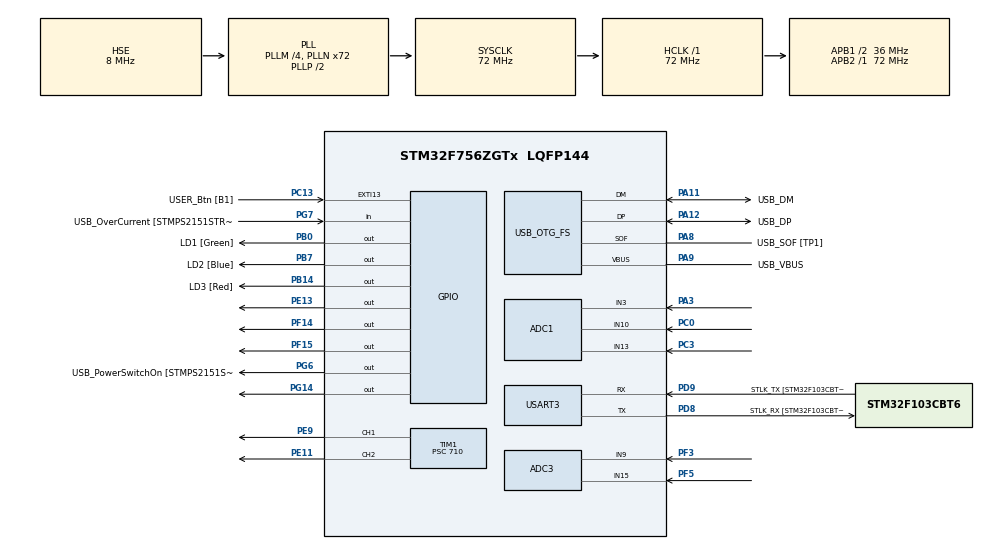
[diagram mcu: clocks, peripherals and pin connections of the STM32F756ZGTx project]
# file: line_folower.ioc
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ADC1.Channel-1\#ChannelRegularConversion=ADC_CHANNEL_3
ADC1.NbrOfConversionFlag=1
ADC1.Rank-1\#ChannelRegularConversion=1
ADC1.SamplingTime-1\#ChannelRegularConversion=ADC_SAMPLETIME_3CYCLES
ADC1.master=1
ADC3.Channel-0\#ChannelRegularConversion=ADC_CHANNEL_9
ADC3.NbrOfConversionFlag=1
ADC3.Rank-0\#ChannelRegularConversion=1
ADC3.SamplingTime-0\#ChannelRegularConversion=ADC_SAMPLETIME_3CYCLES
Mcu.Family=STM32F7
Mcu.Name=STM32F756ZGTx
Mcu.Package=LQFP144
NVIC.PriorityGroup=NVIC_PRIORITYGROUP_4
PA1.GPIO_Label=RMII_REF_CLK [LAN8742A-CZ-TR_REFCLK0]
PA1.Signal=ETH_REF_CLK
PA10.GPIO_Label=USB_ID
PA10.Signal=USB_OTG_FS_ID
PA11.GPIO_Label=USB_DM
PA11.Mode=Device_Only
PA11.Signal=USB_OTG_FS_DM
PA12.GPIO_Label=USB_DP
PA12.Mode=Device_Only
PA12.Signal=USB_OTG_FS_DP
PA13.GPIO_Label=TMS
PA13.Mode=Serial_Wire
PA13.Signal=SYS_JTMS-SWDIO
PA14.GPIO_Label=TCK
PA14.Mode=Serial_Wire
PA14.Signal=SYS_JTCK-SWCLK
PA2.GPIO_Label=RMII_MDIO [LAN8742A-CZ-TR_MDIO]
PA2.Signal=ETH_MDIO
PA3.Signal=ADCx_IN3
PA7.GPIO_Label=RMII_CRS_DV [LAN8742A-CZ-TR_CRS_DV]
PA7.Signal=ETH_CRS_DV
PA8.GPIO_Label=USB_SOF [TP1]
PA8.Mode=Activate_SOF_FS
PA8.Signal=USB_OTG_FS_SOF
PA9.GPIO_Label=USB_VBUS
PA9.Mode=Activate_VBUS
PA9.Signal=USB_OTG_FS_VBUS
PB0.GPIO_Label=LD1 [Green]
PB0.Signal=GPIO_Output
PB13.GPIO_Label=RMII_TXD1 [LAN8742A-CZ-TR_TXD1]
PB13.Signal=ETH_TXD1
PB14.GPIO_Label=LD3 [Red]
PB14.Signal=GPIO_Output
PB3.GPIO_Label=SW0
PB3.Signal=SYS_JTDO-SWO
PB7.GPIO_Label=LD2 [Blue]
PB7.Signal=GPIO_Output
PC0.Signal=ADCx_IN10
PC1.GPIO_Label=RMII_MDC [LAN8742A-CZ-TR_MDC]
PC1.Signal=ETH_MDC
PC13.GPIO_Label=USER_Btn [B1]
PC13.Signal=GPXTI13
PC14/OSC32_IN.Mode=LSE-External-Oscillator
PC14/OSC32_IN.Signal=RCC_OSC32_IN
PC15/OSC32_OUT.Mode=LSE-External-Oscillator
PC15/OSC32_OUT.Signal=RCC_OSC32_OUT
PC3.Signal=ADCx_IN13
PC4.GPIO_Label=RMII_RXD0 [LAN8742A-CZ-TR_RXD0]
PC4.Signal=ETH_RXD0
PC5.GPIO_Label=RMII_RXD1 [LAN8742A-CZ-TR_RXD1]
PC5.Signal=ETH_RXD1
PD8.GPIO_Label=STLK_RX [STM32F103CBT6_PA3]
PD8.Mode=Asynchronous
PD8.Signal=USART3_TX
PD9.GPIO_Label=STLK_TX [STM32F103CBT6_PA2]
PD9.Mode=Asynchronous
PD9.Signal=USART3_RX
PE11.Signal=S_TIM1_CH2
PE13.Signal=GPIO_Output
PE9.Signal=S_TIM1_CH1
PF14.Signal=GPIO_Output
PF15.Signal=GPIO_Output
PF3.Mode=IN9
PF3.Signal=ADC3_IN9
PF5.Mode=IN15
PF5.Signal=ADC3_IN15
PG11.GPIO_Label=RMII_TX_EN [LAN8742A-CZ-TR_TXEN]
PG11.Signal=ETH_TX_EN
PG13.GPIO_Label=RMII_TXD0 [LAN8742A-CZ-TR_TXD0]
PG13.Signal=ETH_TXD0
PG14.Signal=GPIO_Output
PG6.GPIO_Label=USB_PowerSwitchOn [STMPS2151STR_EN]
PG6.Signal=GPIO_Output
PG7.GPIO_Label=USB_OverCurrent [STMPS2151STR_FAULT]
PG7.Signal=GPIO_Input
PH0/OSC_IN.GPIO_Label=MCO [STM32F103CBT6_PA8]
PH0/OSC_IN.Mode=HSE-External-Clock-Source
PH0/OSC_IN.Signal=RCC_OSC_IN
PH1/OSC_OUT.Mode=HSE-External-Clock-Source
PH1/OSC_OUT.Signal=RCC_OSC_OUT
ProjectManager.HeapSize=0x200
ProjectManager.StackSize=0x400
ProjectManager.TargetToolchain=STM32CubeIDE
RCC.48MHZClocksFreq_Value=24000000
RCC.AHBFreq_Value=72000000
RCC.APB1CLKDivider=RCC_HCLK_DIV2
RCC.APB1Freq_Value=36000000
RCC.APB1TimFreq_Value=72000000
RCC.APB2Freq_Value=72000000
RCC.APB2TimFreq_Value=72000000
RCC.CortexFreq_Value=72000000
RCC.HCLKFreq_Value=72000000
RCC.HSE_VALUE=8000000
RCC.HSI_VALUE=16000000
RCC.PLLM=4
RCC.PLLMUL=RCC_PLL_MUL9
RCC.PLLN=72
RCC.PLLQ=3
RCC.PRESCALERUSB=RCC_USBCLKSOURCE_PLL_DIV1_5
RCC.SYSCLKFreq_VALUE=72000000
RCC.SYSCLKSource=RCC_SYSCLKSOURCE_PLLCLK
RCC.SYSCLKSourceVirtual=RCC_SYSCLKSOURCE_PLLCLK
RCC.USBFreq_Value=48000000
RCC.VCOOutputFreq_Value=144000000
SH.ADCx_IN10.0=ADC1_IN10,IN10
SH.ADCx_IN13.0=ADC1_IN13,IN13
SH.ADCx_IN3.0=ADC1_IN3,IN3
SH.S_TIM1_CH1.0=TIM1_CH1,PWM Generation1 CH1
SH.S_TIM1_CH2.0=TIM1_CH2,PWM Generation2 CH2
TIM1.Channel-PWM\ Generation1\ CH1=TIM_CHANNEL_1
TIM1.Channel-PWM\ Generation2\ CH2=TIM_CHANNEL_2
TIM1.Period=1999
TIM1.Prescaler=710
USART3.VirtualMode-Asynchronous=VM_ASYNC
USB_OTG_FS.VirtualMode=Device_Only
VP_TIM1_VS_ClockSourceINT.Mode=Internal
board=NUCLEO-F756ZG

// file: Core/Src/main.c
/* USER CODE BEGIN Header */
/**
  ******************************************************************************
  * @file           : main.c
  * @brief          : Main program body
  ******************************************************************************
  * @attention
  *
  * Copyright (c) 2023 STMicroelectronics.
  * All rights reserved.
  *
  * This software is licensed under terms that can be found in the LICENSE file
  * in the root directory of this software component.
  * If no LICENSE file comes with this software, it is provided AS-IS.
  *
  ******************************************************************************
  */
/* USER CODE END Header */
#include "main.h"

ADC_HandleTypeDef hadc1;
ADC_HandleTypeDef hadc3;

TIM_HandleTypeDef htim1;

UART_HandleTypeDef huart3;

PCD_HandleTypeDef hpcd_USB_OTG_FS;

/* USER CODE BEGIN PV */
uint16_t adcValue1;
uint16_t adcValue2;
uint16_t adcValue3;
uint16_t adcValue4;
uint16_t adcValue5;

uint8_t lineDetectedCh3 = 0;
uint8_t lineDetectedCh10 = 0;
uint8_t lineDetectedCh13 = 0;

int speedLeft, speedRight;
/* USER CODE END PV */

void SystemClock_Config(void);
static void MX_GPIO_Init(void);
static void MX_USART3_UART_Init(void);
static void MX_USB_OTG_FS_PCD_Init(void);
static void MX_TIM1_Init(void);
static void MX_ADC1_Init(void);
static void MX_ADC3_Init(void);

/* USER CODE BEGIN 0 */
uint16_t readPotentiometerValue(void)
{
  HAL_ADC_Start(&hadc1);
  HAL_ADC_PollForConversion(&hadc1, HAL_MAX_DELAY);
  return HAL_ADC_GetValue(&hadc1);
}

void setPWMFromPotentiometer(void)
{
  // Read the ADC value from the potentiometer
  uint16_t adcValue = readPotentiometerValue();
  uint16_t T = 19999;
  // Map the ADC value to the PWM range
  uint16_t pwmValue = (adcValue * T) / 4096; // Adjust this based on your PWM resolution

  // Set the PWM duty cycle
  __HAL_TIM_SET_COMPARE(&htim1, TIM_CHANNEL_1, T);
  __HAL_TIM_SET_COMPARE(&htim1, TIM_CHANNEL_2, T);
}

void set_speed(uint16_t speed, uint32_t channel)
{
  uint16_t T = 19999;
  uint16_t pwmValue = (speed * T) / 1000;

  switch (channel)
  {
    case TIM_CHANNEL_1:
      __HAL_TIM_SET_COMPARE(&htim1, TIM_CHANNEL_1, pwmValue);
      break;
    case TIM_CHANNEL_2:
      __HAL_TIM_SET_COMPARE(&htim1, TIM_CHANNEL_2, pwmValue);
      break;
    default:
      Error_Handler();
      break;
  }
}

uint16_t readADCValue(ADC_HandleTypeDef *hadc, uint32_t channel)
{
  ADC_ChannelConfTypeDef sConfig = {0};

  // Configure the ADC channel
  sConfig.Channel = channel;
  sConfig.Rank = 1;
  sConfig.SamplingTime = ADC_SAMPLETIME_28CYCLES;

  if (HAL_ADC_ConfigChannel(hadc, &sConfig) != HAL_OK)
  {
    Error_Handler();  // Upewnij się, że masz zdefiniowaną funkcję obsługi błędów (Error_Handler)
  }

  // Start ADC conversion
  HAL_ADC_Start(hadc);

  // Wait for conversion to complete
  HAL_ADC_PollForConversion(hadc, HAL_MAX_DELAY);

  // Return the ADC value
  return HAL_ADC_GetValue(hadc);
}

uint8_t lineDetectedLeft = 0;
uint8_t lineDetectedRight = 0;
uint8_t is_left = 0;
uint8_t is_right = 0;

uint8_t pos = 0;
#define TARGET_THRESHOLD 550
#define MOTOR_PWM_MAX 1999
#define KP 250
#define KI 1
#define KD 4
uint8_t setpoint = 2;
uint8_t e = 0;
float prev_signal = 0;
float integral = 0;
float signal_time = 0;
float sig = 0 ;
float sig2 = 0 ;
float prev_time = 0;
void controlMotors(void)
{
    // Odczytaj wartości z czujników
    adcValue1 = readADCValue(&hadc1, ADC_CHANNEL_3);
    adcValue2 = readADCValue(&hadc1, ADC_CHANNEL_10);
	adcValue3 = readADCValue(&hadc1, ADC_CHANNEL_13);
	adcValue4 = readADCValue(&hadc3, ADC_CHANNEL_9);
	adcValue5 = readADCValue(&hadc3, ADC_CHANNEL_15);

	//Sprawdzanie pozycji pos
	if (adcValue3<TARGET_THRESHOLD)
	{
		pos = 2;
	}
	if (adcValue2<TARGET_THRESHOLD)
	{
		pos = 1;
	}
	if (adcValue1<TARGET_THRESHOLD)
	{
		pos = 0;
	}
	if (adcValue4<TARGET_THRESHOLD)
	{
		pos = 3;
	}
	if (adcValue5<TARGET_THRESHOLD)
	{
		pos = 4;
	}

	float signal = setpoint-pos;

	integral += signal*0.001;
	if(integral>1000)
	{
		integral = 1000;
	}
	if (integral<0)
	{
		integral = 0;
	}

	float derivative = (signal-prev_signal)/(10);

	prev_signal = signal;

	sig = -signal*KP-integral*KI-derivative*KD;
	sig2 = signal*KP+integral*KI+derivative*KD;

	if (200+sig >= 0)
	{
		HAL_GPIO_WritePin(GPIOF, GPIO_PIN_14, GPIO_PIN_RESET);

		HAL_GPIO_WritePin(GPIOF, GPIO_PIN_15, GPIO_PIN_SET);

		__HAL_TIM_SET_COMPARE(&htim1, TIM_CHANNEL_1, 1200 + sig);

	}
	else{
		HAL_GPIO_WritePin(GPIOF, GPIO_PIN_14, GPIO_PIN_SET);

		HAL_GPIO_WritePin(GPIOF, GPIO_PIN_15, GPIO_PIN_RESET);

		__HAL_TIM_SET_COMPARE(&htim1, TIM_CHANNEL_1, 1200 + abs(sig));

	}
	if (200 + sig2 >= 0)
	{

		HAL_GPIO_WritePin(GPIOE, GPIO_PIN_13, GPIO_PIN_RESET);

		HAL_GPIO_WritePin(GPIOG, GPIO_PIN_14, GPIO_PIN_SET);

		__HAL_TIM_SET_COMPARE(&htim1, TIM_CHANNEL_2, 1200 + sig2);
	}
	else{

		HAL_GPIO_WritePin(GPIOE, GPIO_PIN_13, GPIO_PIN_SET);

		HAL_GPIO_WritePin(GPIOG, GPIO_PIN_14, GPIO_PIN_RESET);

		__HAL_TIM_SET_COMPARE(&htim1, TIM_CHANNEL_2, 1200 + abs(sig2));
	}
}
/* USER CODE END 0 */

int main(void)
{

  /* MCU Configuration--------------------------------------------------------*/

  /* Reset of all peripherals, Initializes the Flash interface and the Systick. */
  HAL_Init();

  /* Configure the system clock */
  SystemClock_Config();

  /* Initialize all configured peripherals */
  MX_GPIO_Init();
  MX_USART3_UART_Init();
  MX_USB_OTG_FS_PCD_Init();
  MX_TIM1_Init();
  MX_ADC1_Init();
  MX_ADC3_Init();
  /* USER CODE BEGIN 2 */
  HAL_TIM_PWM_Start (&htim1, TIM_CHANNEL_1);
  HAL_TIM_PWM_Start (&htim1, TIM_CHANNEL_2);

  HAL_GPIO_WritePin(GPIOF, GPIO_PIN_14, GPIO_PIN_RESET);
  HAL_GPIO_WritePin(GPIOE, GPIO_PIN_13, GPIO_PIN_RESET);
  HAL_GPIO_WritePin(GPIOF, GPIO_PIN_15, GPIO_PIN_SET);
  HAL_GPIO_WritePin(GPIOG, GPIO_PIN_14, GPIO_PIN_SET);
  /* USER CODE END 2 */

  /* Infinite loop */
  while (1)
  {

    /* USER CODE BEGIN 3 */
	  controlMotors();

  }
  /* USER CODE END 3 */
}

void SystemClock_Config(void)
{
  RCC_OscInitTypeDef RCC_OscInitStruct = {0};
  RCC_ClkInitTypeDef RCC_ClkInitStruct = {0};

  /** Configure LSE Drive Capability
  */
  HAL_PWR_EnableBkUpAccess();

  /** Configure the main internal regulator output voltage
  */
  __HAL_RCC_PWR_CLK_ENABLE();
  __HAL_PWR_VOLTAGESCALING_CONFIG(PWR_REGULATOR_VOLTAGE_SCALE3);

  /** Initializes the RCC Oscillators according to the specified parameters
  * in the RCC_OscInitTypeDef structure.
  */
  RCC_OscInitStruct.OscillatorType = RCC_OSCILLATORTYPE_HSE;
  RCC_OscInitStruct.HSEState = RCC_HSE_BYPASS;
  RCC_OscInitStruct.PLL.PLLState = RCC_PLL_ON;
  RCC_OscInitStruct.PLL.PLLSource = RCC_PLLSOURCE_HSE;
  RCC_OscInitStruct.PLL.PLLM = 4;
  RCC_OscInitStruct.PLL.PLLN = 72;
  RCC_OscInitStruct.PLL.PLLP = RCC_PLLP_DIV2;
  RCC_OscInitStruct.PLL.PLLQ = 3;
  if (HAL_RCC_OscConfig(&RCC_OscInitStruct) != HAL_OK)
  {
    Error_Handler();
  }

  /** Initializes the CPU, AHB and APB buses clocks
  */
  RCC_ClkInitStruct.ClockType = RCC_CLOCKTYPE_HCLK|RCC_CLOCKTYPE_SYSCLK
                              |RCC_CLOCKTYPE_PCLK1|RCC_CLOCKTYPE_PCLK2;
  RCC_ClkInitStruct.SYSCLKSource = RCC_SYSCLKSOURCE_PLLCLK;
  RCC_ClkInitStruct.AHBCLKDivider = RCC_SYSCLK_DIV1;
  RCC_ClkInitStruct.APB1CLKDivider = RCC_HCLK_DIV2;
  RCC_ClkInitStruct.APB2CLKDivider = RCC_HCLK_DIV1;

  if (HAL_RCC_ClockConfig(&RCC_ClkInitStruct, FLASH_LATENCY_2) != HAL_OK)
  {
    Error_Handler();
  }
}

static void MX_ADC1_Init(void)
{

  ADC_ChannelConfTypeDef sConfig = {0};

  /** Configure the global features of the ADC (Clock, Resolution, Data Alignment and number of conversion)
  */
  hadc1.Instance = ADC1;
  hadc1.Init.ClockPrescaler = ADC_CLOCK_SYNC_PCLK_DIV2;
  hadc1.Init.Resolution = ADC_RESOLUTION_12B;
  hadc1.Init.ScanConvMode = ADC_SCAN_DISABLE;
  hadc1.Init.ContinuousConvMode = DISABLE;
  hadc1.Init.DiscontinuousConvMode = DISABLE;
  hadc1.Init.ExternalTrigConvEdge = ADC_EXTERNALTRIGCONVEDGE_NONE;
  hadc1.Init.ExternalTrigConv = ADC_SOFTWARE_START;
  hadc1.Init.DataAlign = ADC_DATAALIGN_RIGHT;
  hadc1.Init.NbrOfConversion = 1;
  hadc1.Init.DMAContinuousRequests = DISABLE;
  hadc1.Init.EOCSelection = ADC_EOC_SINGLE_CONV;
  if (HAL_ADC_Init(&hadc1) != HAL_OK)
  {
    Error_Handler();
  }

  /** Configure for the selected ADC regular channel its corresponding rank in the sequencer and its sample time.
  */
  sConfig.Channel = ADC_CHANNEL_3;
  sConfig.Rank = ADC_REGULAR_RANK_1;
  sConfig.SamplingTime = ADC_SAMPLETIME_3CYCLES;
  if (HAL_ADC_ConfigChannel(&hadc1, &sConfig) != HAL_OK)
  {
    Error_Handler();
  }

}

static void MX_ADC3_Init(void)
{

  ADC_ChannelConfTypeDef sConfig = {0};

  /** Configure the global features of the ADC (Clock, Resolution, Data Alignment and number of conversion)
  */
  hadc3.Instance = ADC3;
  hadc3.Init.ClockPrescaler = ADC_CLOCK_SYNC_PCLK_DIV2;
  hadc3.Init.Resolution = ADC_RESOLUTION_12B;
  hadc3.Init.ScanConvMode = ADC_SCAN_DISABLE;
  hadc3.Init.ContinuousConvMode = DISABLE;
  hadc3.Init.DiscontinuousConvMode = DISABLE;
  hadc3.Init.ExternalTrigConvEdge = ADC_EXTERNALTRIGCONVEDGE_NONE;
  hadc3.Init.ExternalTrigConv = ADC_SOFTWARE_START;
  hadc3.Init.DataAlign = ADC_DATAALIGN_RIGHT;
  hadc3.Init.NbrOfConversion = 1;
  hadc3.Init.DMAContinuousRequests = DISABLE;
  hadc3.Init.EOCSelection = ADC_EOC_SINGLE_CONV;
  if (HAL_ADC_Init(&hadc3) != HAL_OK)
  {
    Error_Handler();
  }

  /** Configure for the selected ADC regular channel its corresponding rank in the sequencer and its sample time.
  */
  sConfig.Channel = ADC_CHANNEL_9;
  sConfig.Rank = ADC_REGULAR_RANK_1;
  sConfig.SamplingTime = ADC_SAMPLETIME_3CYCLES;
  if (HAL_ADC_ConfigChannel(&hadc3, &sConfig) != HAL_OK)
  {
    Error_Handler();
  }

}

static void MX_TIM1_Init(void)
{

  TIM_ClockConfigTypeDef sClockSourceConfig = {0};
  TIM_MasterConfigTypeDef sMasterConfig = {0};
  TIM_OC_InitTypeDef sConfigOC = {0};
  TIM_BreakDeadTimeConfigTypeDef sBreakDeadTimeConfig = {0};

  htim1.Instance = TIM1;
  htim1.Init.Prescaler = 710;
  htim1.Init.CounterMode = TIM_COUNTERMODE_UP;
  htim1.Init.Period = 1999;
  htim1.Init.ClockDivision = TIM_CLOCKDIVISION_DIV1;
  htim1.Init.RepetitionCounter = 0;
  htim1.Init.AutoReloadPreload = TIM_AUTORELOAD_PRELOAD_DISABLE;
  if (HAL_TIM_Base_Init(&htim1) != HAL_OK)
  {
    Error_Handler();
  }
  sClockSourceConfig.ClockSource = TIM_CLOCKSOURCE_INTERNAL;
  if (HAL_TIM_ConfigClockSource(&htim1, &sClockSourceConfig) != HAL_OK)
  {
    Error_Handler();
  }
  if (HAL_TIM_PWM_Init(&htim1) != HAL_OK)
  {
    Error_Handler();
  }
  sMasterConfig.MasterOutputTrigger = TIM_TRGO_RESET;
  sMasterConfig.MasterOutputTrigger2 = TIM_TRGO2_RESET;
  sMasterConfig.MasterSlaveMode = TIM_MASTERSLAVEMODE_DISABLE;
  if (HAL_TIMEx_MasterConfigSynchronization(&htim1, &sMasterConfig) != HAL_OK)
  {
    Error_Handler();
  }
  sConfigOC.OCMode = TIM_OCMODE_PWM1;
  sConfigOC.Pulse = 0;
  sConfigOC.OCPolarity = TIM_OCPOLARITY_HIGH;
  sConfigOC.OCNPolarity = TIM_OCNPOLARITY_HIGH;
  sConfigOC.OCFastMode = TIM_OCFAST_DISABLE;
  sConfigOC.OCIdleState = TIM_OCIDLESTATE_RESET;
  sConfigOC.OCNIdleState = TIM_OCNIDLESTATE_RESET;
  if (HAL_TIM_PWM_ConfigChannel(&htim1, &sConfigOC, TIM_CHANNEL_1) != HAL_OK)
  {
    Error_Handler();
  }
  if (HAL_TIM_PWM_ConfigChannel(&htim1, &sConfigOC, TIM_CHANNEL_2) != HAL_OK)
  {
    Error_Handler();
  }
  sBreakDeadTimeConfig.OffStateRunMode = TIM_OSSR_DISABLE;
  sBreakDeadTimeConfig.OffStateIDLEMode = TIM_OSSI_DISABLE;
  sBreakDeadTimeConfig.LockLevel = TIM_LOCKLEVEL_OFF;
  sBreakDeadTimeConfig.DeadTime = 0;
  sBreakDeadTimeConfig.BreakState = TIM_BREAK_DISABLE;
  sBreakDeadTimeConfig.BreakPolarity = TIM_BREAKPOLARITY_HIGH;
  sBreakDeadTimeConfig.BreakFilter = 0;
  sBreakDeadTimeConfig.Break2State = TIM_BREAK2_DISABLE;
  sBreakDeadTimeConfig.Break2Polarity = TIM_BREAK2POLARITY_HIGH;
  sBreakDeadTimeConfig.Break2Filter = 0;
  sBreakDeadTimeConfig.AutomaticOutput = TIM_AUTOMATICOUTPUT_DISABLE;
  if (HAL_TIMEx_ConfigBreakDeadTime(&htim1, &sBreakDeadTimeConfig) != HAL_OK)
  {
    Error_Handler();
  }
  HAL_TIM_MspPostInit(&htim1);

}

static void MX_USART3_UART_Init(void)
{

  huart3.Instance = USART3;
  huart3.Init.BaudRate = 115200;
  huart3.Init.WordLength = UART_WORDLENGTH_8B;
  huart3.Init.StopBits = UART_STOPBITS_1;
  huart3.Init.Parity = UART_PARITY_NONE;
  huart3.Init.Mode = UART_MODE_TX_RX;
  huart3.Init.HwFlowCtl = UART_HWCONTROL_NONE;
  huart3.Init.OverSampling = UART_OVERSAMPLING_16;
  huart3.Init.OneBitSampling = UART_ONE_BIT_SAMPLE_DISABLE;
  huart3.AdvancedInit.AdvFeatureInit = UART_ADVFEATURE_NO_INIT;
  if (HAL_UART_Init(&huart3) != HAL_OK)
  {
    Error_Handler();
  }

}

static void MX_USB_OTG_FS_PCD_Init(void)
{

  hpcd_USB_OTG_FS.Instance = USB_OTG_FS;
  hpcd_USB_OTG_FS.Init.dev_endpoints = 6;
  hpcd_USB_OTG_FS.Init.speed = PCD_SPEED_FULL;
  hpcd_USB_OTG_FS.Init.dma_enable = DISABLE;
  hpcd_USB_OTG_FS.Init.phy_itface = PCD_PHY_EMBEDDED;
  hpcd_USB_OTG_FS.Init.Sof_enable = ENABLE;
  hpcd_USB_OTG_FS.Init.low_power_enable = DISABLE;
  hpcd_USB_OTG_FS.Init.lpm_enable = DISABLE;
  hpcd_USB_OTG_FS.Init.vbus_sensing_enable = ENABLE;
  hpcd_USB_OTG_FS.Init.use_dedicated_ep1 = DISABLE;
  if (HAL_PCD_Init(&hpcd_USB_OTG_FS) != HAL_OK)
  {
    Error_Handler();
  }

}

static void MX_GPIO_Init(void)
{
  GPIO_InitTypeDef GPIO_InitStruct = {0};

  /* GPIO Ports Clock Enable */
  __HAL_RCC_GPIOC_CLK_ENABLE();
  __HAL_RCC_GPIOF_CLK_ENABLE();
  __HAL_RCC_GPIOH_CLK_ENABLE();
  __HAL_RCC_GPIOA_CLK_ENABLE();
  __HAL_RCC_GPIOB_CLK_ENABLE();
  __HAL_RCC_GPIOE_CLK_ENABLE();
  __HAL_RCC_GPIOD_CLK_ENABLE();
  __HAL_RCC_GPIOG_CLK_ENABLE();

  /*Configure GPIO pin Output Level */
  HAL_GPIO_WritePin(GPIOB, LD1_Pin|LD3_Pin|LD2_Pin, GPIO_PIN_RESET);

  /*Configure GPIO pin Output Level */
  HAL_GPIO_WritePin(GPIOF, GPIO_PIN_14|GPIO_PIN_15, GPIO_PIN_RESET);

  /*Configure GPIO pin Output Level */
  HAL_GPIO_WritePin(GPIOE, GPIO_PIN_13, GPIO_PIN_RESET);

  /*Configure GPIO pin Output Level */
  HAL_GPIO_WritePin(GPIOG, USB_PowerSwitchOn_Pin|GPIO_PIN_14, GPIO_PIN_RESET);

  /*Configure GPIO pin : USER_Btn_Pin */
  GPIO_InitStruct.Pin = USER_Btn_Pin;
  GPIO_InitStruct.Mode = GPIO_MODE_IT_RISING;
  GPIO_InitStruct.Pull = GPIO_NOPULL;
  HAL_GPIO_Init(USER_Btn_GPIO_Port, &GPIO_InitStruct);

  /*Configure GPIO pins : RMII_MDC_Pin RMII_RXD0_Pin RMII_RXD1_Pin */
  GPIO_InitStruct.Pin = RMII_MDC_Pin|RMII_RXD0_Pin|RMII_RXD1_Pin;
  GPIO_InitStruct.Mode = GPIO_MODE_AF_PP;
  GPIO_InitStruct.Pull = GPIO_NOPULL;
  GPIO_InitStruct.Speed = GPIO_SPEED_FREQ_VERY_HIGH;
  GPIO_InitStruct.Alternate = GPIO_AF11_ETH;
  HAL_GPIO_Init(GPIOC, &GPIO_InitStruct);

  /*Configure GPIO pins : RMII_REF_CLK_Pin RMII_MDIO_Pin RMII_CRS_DV_Pin */
  GPIO_InitStruct.Pin = RMII_REF_CLK_Pin|RMII_MDIO_Pin|RMII_CRS_DV_Pin;
  GPIO_InitStruct.Mode = GPIO_MODE_AF_PP;
  GPIO_InitStruct.Pull = GPIO_NOPULL;
  GPIO_InitStruct.Speed = GPIO_SPEED_FREQ_VERY_HIGH;
  GPIO_InitStruct.Alternate = GPIO_AF11_ETH;
  HAL_GPIO_Init(GPIOA, &GPIO_InitStruct);

  /*Configure GPIO pins : LD1_Pin LD3_Pin LD2_Pin */
  GPIO_InitStruct.Pin = LD1_Pin|LD3_Pin|LD2_Pin;
  GPIO_InitStruct.Mode = GPIO_MODE_OUTPUT_PP;
  GPIO_InitStruct.Pull = GPIO_NOPULL;
  GPIO_InitStruct.Speed = GPIO_SPEED_FREQ_LOW;
  HAL_GPIO_Init(GPIOB, &GPIO_InitStruct);

  /*Configure GPIO pins : PF14 PF15 */
  GPIO_InitStruct.Pin = GPIO_PIN_14|GPIO_PIN_15;
  GPIO_InitStruct.Mode = GPIO_MODE_OUTPUT_PP;
  GPIO_InitStruct.Pull = GPIO_NOPULL;
  GPIO_InitStruct.Speed = GPIO_SPEED_FREQ_LOW;
  HAL_GPIO_Init(GPIOF, &GPIO_InitStruct);

  /*Configure GPIO pin : PE13 */
  GPIO_InitStruct.Pin = GPIO_PIN_13;
  GPIO_InitStruct.Mode = GPIO_MODE_OUTPUT_PP;
  GPIO_InitStruct.Pull = GPIO_NOPULL;
  GPIO_InitStruct.Speed = GPIO_SPEED_FREQ_LOW;
  HAL_GPIO_Init(GPIOE, &GPIO_InitStruct);

  /*Configure GPIO pin : RMII_TXD1_Pin */
  GPIO_InitStruct.Pin = RMII_TXD1_Pin;
  GPIO_InitStruct.Mode = GPIO_MODE_AF_PP;
  GPIO_InitStruct.Pull = GPIO_NOPULL;
  GPIO_InitStruct.Speed = GPIO_SPEED_FREQ_VERY_HIGH;
  GPIO_InitStruct.Alternate = GPIO_AF11_ETH;
  HAL_GPIO_Init(RMII_TXD1_GPIO_Port, &GPIO_InitStruct);

  /*Configure GPIO pins : USB_PowerSwitchOn_Pin PG14 */
  GPIO_InitStruct.Pin = USB_PowerSwitchOn_Pin|GPIO_PIN_14;
  GPIO_InitStruct.Mode = GPIO_MODE_OUTPUT_PP;
  GPIO_InitStruct.Pull = GPIO_NOPULL;
  GPIO_InitStruct.Speed = GPIO_SPEED_FREQ_LOW;
  HAL_GPIO_Init(GPIOG, &GPIO_InitStruct);

  /*Configure GPIO pin : USB_OverCurrent_Pin */
  GPIO_InitStruct.Pin = USB_OverCurrent_Pin;
  GPIO_InitStruct.Mode = GPIO_MODE_INPUT;
  GPIO_InitStruct.Pull = GPIO_NOPULL;
  HAL_GPIO_Init(USB_OverCurrent_GPIO_Port, &GPIO_InitStruct);

  /*Configure GPIO pins : RMII_TX_EN_Pin RMII_TXD0_Pin */
  GPIO_InitStruct.Pin = RMII_TX_EN_Pin|RMII_TXD0_Pin;
  GPIO_InitStruct.Mode = GPIO_MODE_AF_PP;
  GPIO_InitStruct.Pull = GPIO_NOPULL;
  GPIO_InitStruct.Speed = GPIO_SPEED_FREQ_VERY_HIGH;
  GPIO_InitStruct.Alternate = GPIO_AF11_ETH;
  HAL_GPIO_Init(GPIOG, &GPIO_InitStruct);

}

void Error_Handler(void)
{
  __disable_irq();
  while (1)
  {
  }
}
